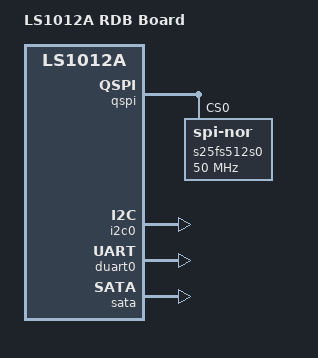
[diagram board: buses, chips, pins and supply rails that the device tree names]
// SPDX-License-Identifier: GPL-2.0+ OR X11
/*
 * Device Tree Include file for Freescale Layerscape-1012A family SoC.
 *
 * Copyright 2016, Freescale Semiconductor
 */

/include/ "fsl-ls1012a.dtsi"

/ {
	model = "LS1012A RDB Board";
	aliases {
		spi0 = &qspi;
	};
};

&esdhc1 {
	mmc-hs200-1_8v;
};

&qspi {
	status = "okay";

	s25fs512s0: flash@0 {
		#address-cells = <1>;
		#size-cells = <1>;
		compatible = "jedec,spi-nor";
		spi-max-frequency = <50000000>;
		reg = <0>;
	};
};

&i2c0 {
	status = "okay";
};

&duart0 {
	status = "okay";
};

&sata {
	status = "okay";
};
